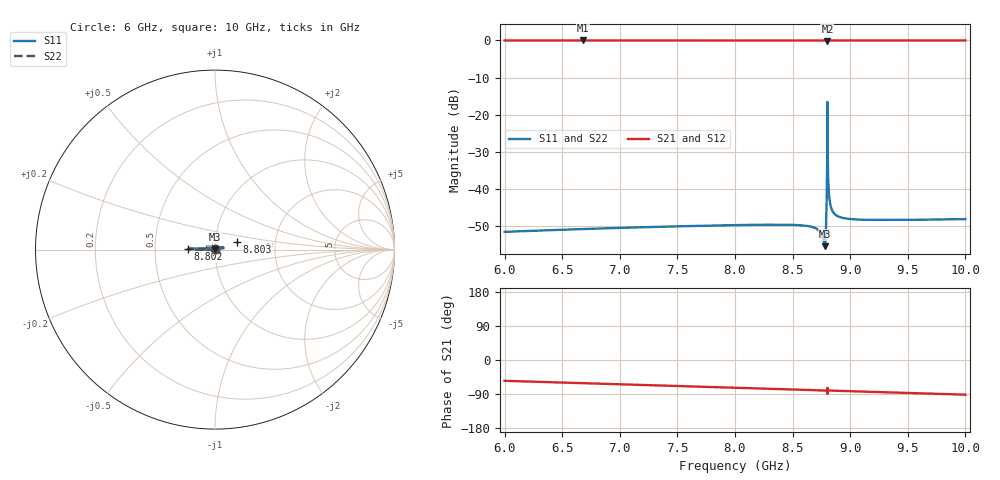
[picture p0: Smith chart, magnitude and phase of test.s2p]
! Sonnet Data File
! From: emgraph Version : 16.52
! From Emgraph Data: Qubit_Test_beforeopt
! Data File Written: 10/17/2017 16:50:24
!< HDATE 10/17/2017 14:53:42
!< MDATE 10/17/2017 15:05:37
!< PARAMS
!< Lj = 11.0
!< Gap = 6.0
!< Pwid = 2000.0
!< Airgap = 6.000000259
!< Width = 10.0
!< Airgap_1 = 6.000061273
!< END PARAMS
# GHZ S MA R 51.80000
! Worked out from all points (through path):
!   4001 points, 6 GHz to 10 GHz, reference 51.8 ohm
!   highest |S21| = 0.00 dB at 6.678 GHz (marker M1); lowest = -0.1 dB at 8.802 GHz (marker M2)
!   group delay of S21, straight-line fit = 25.4 ps
!   lowest |S11| = -55.3 dB at 8.78 GHz (marker M3), VSWR 1.00, Z = 51.8 + j0.176 ohm
!   |S11| at or under -10 dB: start of sweep to end of sweep
!   |S22| runs from -55.3 to -16.5 dB; largest |S21 - S12| = 0
!   S11 on the Smith chart (normalised r, x): 6 GHz: 1.00, +0.00; 8.802 GHz: 0.74, +0.01; 8.803 GHz: 1.27, +0.11; 10 GHz: 1.01, +0.00
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6  0.002678 54.1  1 -54.9  1 -54.9  0.002677 16.1
!< P1 F=6.0 Eeff=(6.44816627 -3.029e-5) Z0=(51.8053416 1.16625e-4) R=0.04413035 C=0.00303744
!< P2 F=6.0 Eeff=(6.44816627 -3.029e-5) Z0=(51.8053416 1.16625e-4) R=0.04413035 C=0.00303744
6.667  0.002913 50.4  1 -61.0  1 -61.0  0.002911 7.7
6.678  0.002917 50.3  1 -61.1  1 -61.1  0.002915 7.6
7.334  0.003125 46.7  1 -67.1  1 -67.1  0.003123 -0.9
8  0.003295 43.4  1 -73.2  1 -73.2  0.003293 -9.8
8.667  0.003124 43.5  1 -79.3  1 -79.3  0.003122 -22.1
8.729  0.002785 48.0  1 -79.9  1 -79.9  0.002782 -27.8
8.768  0.002051 66.6  1 -80.4  1 -80.4  0.002046 -47.2
8.775  0.00182 80.3  1 -80.5  1 -80.5  0.001814 -61.2
8.78  0.001718 98.5  1 -80.5  1 -80.5  0.001709 -79.5
8.787  0.002204 138.3  1 -80.7  1 -80.7  0.002193 -119.9
8.802  0.1494 178.3  0.9832 -89.3  0.9832 -89.3  0.1493 178.8
8.803  0.13 19.6  0.9876 -73.3  0.9876 -73.3  0.1299 17.3
8.81  0.01261 18.2  0.9999 -80.1  0.9999 -80.1  0.0126 1.8
8.816  0.00854 21.7  1 -80.4  1 -80.4  0.008537 -2.4
8.821  0.007177 23.8  1 -80.5  1 -80.5  0.007175 -4.8
8.828  0.006176 26.0  1 -80.6  1 -80.6  0.006174 -7.3
8.84  0.005341 28.6  1 -80.8  1 -80.8  0.005339 -10.1
8.863  0.00468 31.2  1 -81.0  1 -81.0  0.004678 -13.3
8.9  0.004284 33.2  1 -81.4  1 -81.4  0.004282 -15.9
9.334  0.003869 34.5  1 -85.4  1 -85.4  0.003866 -25.3
10  0.00397 31.5  1 -91.5  1 -91.5  0.003967 -34.5
